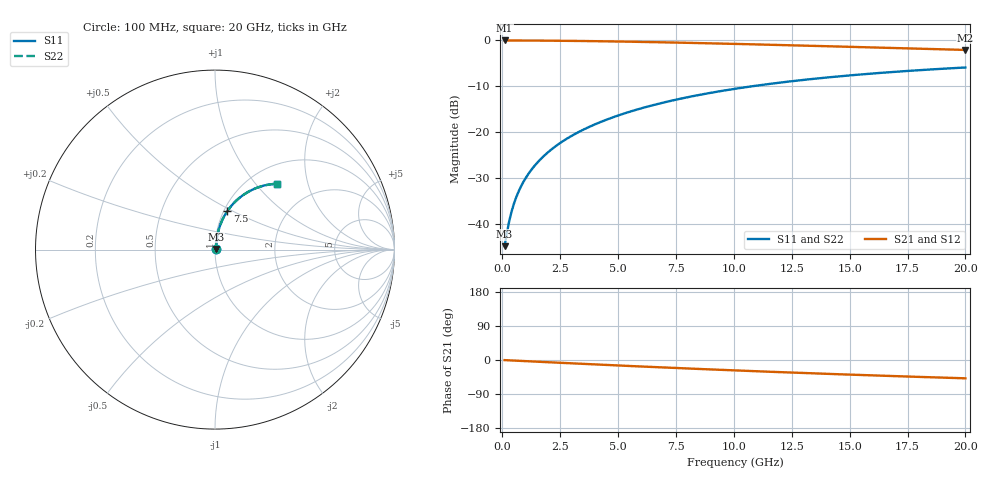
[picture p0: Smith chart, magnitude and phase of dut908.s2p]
! Touchstone file exported from HFSS 2024.1.0
!  File:  C:/UserFiles/LocalFiles/RDL_TSV_Batchsim/temp_RDL_bottom_908_1779940375.aedt
!  Generated:  11:55:34 AM May 28, 2026
!  Design:  RDL_bottom
!  Project:  temp_RDL_bottom_908_1779940375
!  Setup:  Setup1
!  Solution:  Sweep
! Variables:
!  dtsv = 10.80580581um
!  hbump = 3um
!  htsv = 68.27um
!  ldown = 614.78um
!  lrdl = 100um
!  p = 40
!  p1 = 59.72um
!  rhole = 1um
!  t = 450um
!  tdown = 2.87um
!  trdl = 3.915915916um
!  wdown = 16.6um
!  wrdl = 20um
# GHz S MA R 50.000000
! Terminal data exported
! Port[1] = RDL1_T1
! Port[2] = RDL1_T2
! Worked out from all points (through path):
!   200 points, 100 MHz to 20 GHz, reference 50 ohm
!   highest |S21| = -0.04 dB at 100 MHz (marker M1); lowest = -2.1 dB at 20 GHz (marker M2)
!   group delay of S21, straight-line fit = 6.7 ps
!   lowest |S11| = -44.9 dB at 100 MHz (marker M3), VSWR 1.01, Z = 50.5 + j0.321 ohm
!   |S11| at or under -10 dB: start of sweep to 10.83 GHz
!   |S22| runs from -44.9 to -5.9 dB; largest |S21 - S12| = 4e-15
!   S11 on the Smith chart (normalised r, x): 100 MHz: 1.01, +0.01; 7.5 GHz: 1.04, +0.47; 20 GHz: 1.33, +1.31
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0.1  0.005681 34.0  0.9953 -0.3  0.9953 -0.3  0.005681 34.0
! Gamma 0 0 0 0
! Port Impedance 50 0 50 0
0.2  0.007955 52.7  0.9952 -0.6  0.9952 -0.6  0.007955 52.7
0.3  0.01067 62.1  0.995 -0.9  0.995 -0.9  0.01067 62.1
0.4  0.01353 67.5  0.9948 -1.2  0.9948 -1.2  0.01353 67.5
0.5  0.01644 70.8  0.9946 -1.5  0.9946 -1.5  0.01644 70.8
0.6  0.01936 73.1  0.9944 -1.8  0.9944 -1.8  0.01936 73.1
0.8  0.02523 76.0  0.9939 -2.4  0.9939 -2.4  0.02523 76.0
1.1  0.03406 78.4  0.9931 -3.3  0.9931 -3.3  0.03406 78.4
1.5  0.04592 79.9  0.9919 -4.5  0.9919 -4.5  0.04592 79.9
1.8  0.05485 80.4  0.9908 -5.3  0.9908 -5.3  0.05486 80.4
2.1  0.06383 80.6  0.9895 -6.2  0.9895 -6.2  0.06383 80.6
2.7  0.08184 80.5  0.9865 -7.9  0.9865 -7.9  0.08184 80.5
3.5  0.1059 79.7  0.9815 -10.2  0.9815 -10.2  0.1059 79.7
4.2  0.1271 78.7  0.9763 -12.2  0.9763 -12.2  0.1271 78.7
5  0.1511 77.3  0.9695 -14.4  0.9695 -14.4  0.1511 77.3
6.8  0.2046 73.8  0.9516 -19.3  0.9516 -19.3  0.2046 73.8
7.5  0.2249 72.3  0.9438 -21.1  0.9438 -21.1  0.2249 72.3
8.7  0.2589 69.6  0.9297 -24.2  0.9297 -24.2  0.2589 69.6
10.1  0.297 66.6  0.9124 -27.6  0.9124 -27.6  0.297 66.5
13.4  0.3787 59.4  0.8695 -35.2  0.8695 -35.2  0.3787 59.4
16.7  0.4479 52.7  0.8261 -42.1  0.8261 -42.1  0.4479 52.7
20  0.5051 46.6  0.7845 -48.3  0.7845 -48.3  0.5051 46.6
